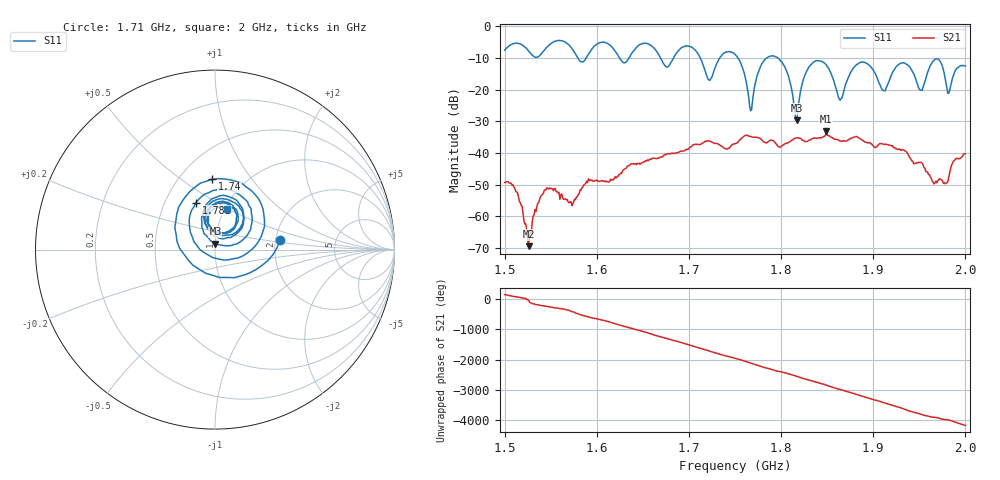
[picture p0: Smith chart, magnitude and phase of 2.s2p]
! NanoVNA-App by SYSJOINT et al v1.1.209 (+OD18)
! Date: 2026-01-21 14:24:41
! Start: 1,5GHz Stop: 2GHz Points: 501
! S-Parameter data: F S11 S21 S12 S22
# Hz S RI R 50
!  Frequency  S11_Real  S11_Imag  S21_Real  S21_Imag  S12_Real  S12_Imag  S22_Real  S22_Imag
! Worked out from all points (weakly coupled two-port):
!   501 points, 1.5 GHz to 2 GHz, reference 50 ohm
!   highest |S21| = -33.19 dB at 1.849 GHz (marker M1); lowest = -69.5 dB at 1.526 GHz (marker M2)
!   lowest |S11| = -29.7 dB at 1.817 GHz (marker M3), VSWR 1.07, Z = 50.1 + j3.28 ohm
!   |S11| at or under -10 dB: 1.712 GHz to 1.733 GHz (21.02 MHz wide, 1.22 % of centre); 1.753 GHz to 1.784 GHz (31.2 MHz wide, 1.76 % of centre); 1.796 GHz to end of sweep (the widest 3 of 6)
!   S12 and S22 are empty: the file has one direction only
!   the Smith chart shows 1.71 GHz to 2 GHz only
!   S11 on the Smith chart (normalised r, x): 1.71 GHz: 2.11, +0.25; 1.74 GHz: 0.71, +0.66; 1.781 GHz: 0.71, +0.40; 2 GHz: 1.02, +0.49
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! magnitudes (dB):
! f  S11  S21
! 1.5 GHz  -7.5  -49.4
! 1.526 GHz  -7.7  -69.5
! 1.545 GHz  -6.9  -51.6
! 1.584 GHz  -11.3  -51.0
! 1.667 GHz  -8.8  -41.7
! 1.71 GHz  -8.7  -37.4
! 1.722 GHz  -17.0  -36.3
! 1.74 GHz  -8.1  -38.8
! 1.75 GHz  -8.8  -37.1
! 1.767 GHz  -26.7  -34.8
! 1.781 GHz  -11.0  -36.4
! 1.802 GHz  -11.9  -37.6
! 1.817 GHz  -29.7  -35.2
! 1.834 GHz  -11.6  -35.5
! 1.849 GHz  -12.2  -33.2
! 1.864 GHz  -23.4  -36.3
! 1.886 GHz  -11.4  -35.5
! 1.917 GHz  -17.4  -37.5
! 1.952 GHz  -20.2  -43.0
! 1.967 GHz  -10.4  -49.5
! 1.982 GHz  -21.1  -47.5
! 2 GHz  -12.6  -40.3
